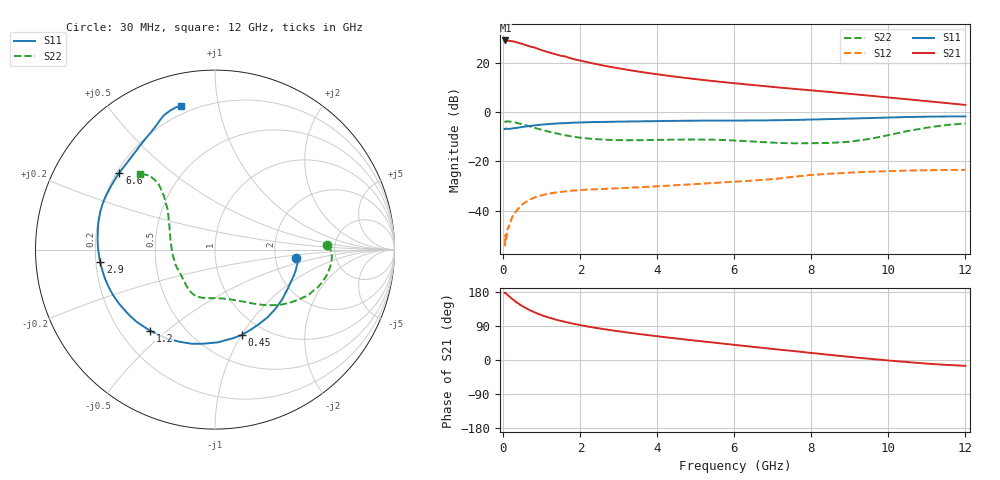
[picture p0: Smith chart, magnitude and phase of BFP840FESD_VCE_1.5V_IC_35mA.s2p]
! Infineon Technologies  Discrete & RF Semiconductors
! BFP840FESD
! VCE =  1.5 V,  IC =  35 mA
! Common Emitter S-Parameters:  May 2012
# GHz  S  MA  R  50
!  f  S11  S21  S12  S22
! GHz  MAG  ANG  MAG  ANG  MAG  ANG  MAG  ANG
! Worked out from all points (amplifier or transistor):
!   103 points, 30 MHz to 12 GHz, reference 50 ohm
!   highest |S21| = 29.2 dB at 50 MHz (marker M1)
!   |S21| within 3 dB of that: start of sweep to 832 MHz
!   unconditionally stable (mu >= 1): start of sweep to 298.9 MHz; 2.385 GHz to end of sweep
!   at 400 MHz: K = 0.86, MSG = 33.6 dB, |S12| = -38.9 dB
!   at 3.7 GHz: K = 1.29, MAG = 20.0 dB, |S12| = -30.3 dB
!   at 12 GHz: K = 1.46, MAG = 9.2 dB, |S12| = -23.4 dB
!   S11 on the Smith chart (normalised r, x): 30 MHz: 2.63, -0.32; 450 MHz: 0.80, -1.00; 1.2 GHz: 0.32, -0.44; 2.9 GHz: 0.22, -0.05; 6.6 GHz: 0.21, +0.34; 12 GHz: 0.16, +0.78
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0.03  0.4559 -6.1  28.25 177.1  0.0019 65.0  0.626 2.2
0.04  0.4572 -7.9  28.3 176.4  0.002 52.7  0.6354 1.2
0.05  0.4665 -9.5  28.83 177.1  0.0032 69.0  0.6423 0.3
0.1  0.4618 -19.1  28.71 172.3  0.0039 67.5  0.6529 -4.2
0.2  0.4662 -36.9  28.02 163.2  0.0065 64.4  0.6435 -11.4
0.3  0.4779 -52.4  27.07 155.3  0.009 63.5  0.6218 -17.4
0.45  0.4978 -72.3  25.08 144.7  0.0125 59.6  0.5831 -25.1
0.6  0.5171 -88.3  22.94 136.0  0.0153 55.2  0.5374 -31.6
0.7  0.5285 -97.2  21.59 130.7  0.0171 52.4  0.5116 -35.3
0.8  0.5403 -103.8  20.9 126.2  0.0184 49.8  0.486 -38.8
1  0.5625 -118.1  18.22 118.0  0.0206 45.8  0.4396 -44.8
1.2  0.5788 -128.7  16.33 111.5  0.0222 42.4  0.4006 -50.0
1.5  0.5988 -141.0  14.03 103.0  0.0242 38.7  0.3543 -56.9
1.8  0.6139 -150.7  12.21 96.0  0.0256 36.3  0.3206 -63.7
2.1  0.6251 -158.5  10.75 90.0  0.0266 34.7  0.2985 -69.8
2.9  0.6434 -173.7  8.065 77.1  0.0284 33.6  0.2731 -84.3
4.1  0.6637 169.3  5.768 61.4  0.0316 35.5  0.275 -101.1
6.1  0.6791 147.1  3.835 38.9  0.0392 39.5  0.2647 -123.9
6.6  0.6831 141.2  3.506 33.5  0.0415 40.6  0.2517 -131.2
8.5  0.7286 122.2  2.575 13.3  0.0566 37.4  0.2387 -174.4
10.5  0.8015 110.7  1.836 -5.5  0.0653 28.4  0.4158 133.4
12  0.8238 103.3  1.412 -15.4  0.0675 24.8  0.5929 134.6
